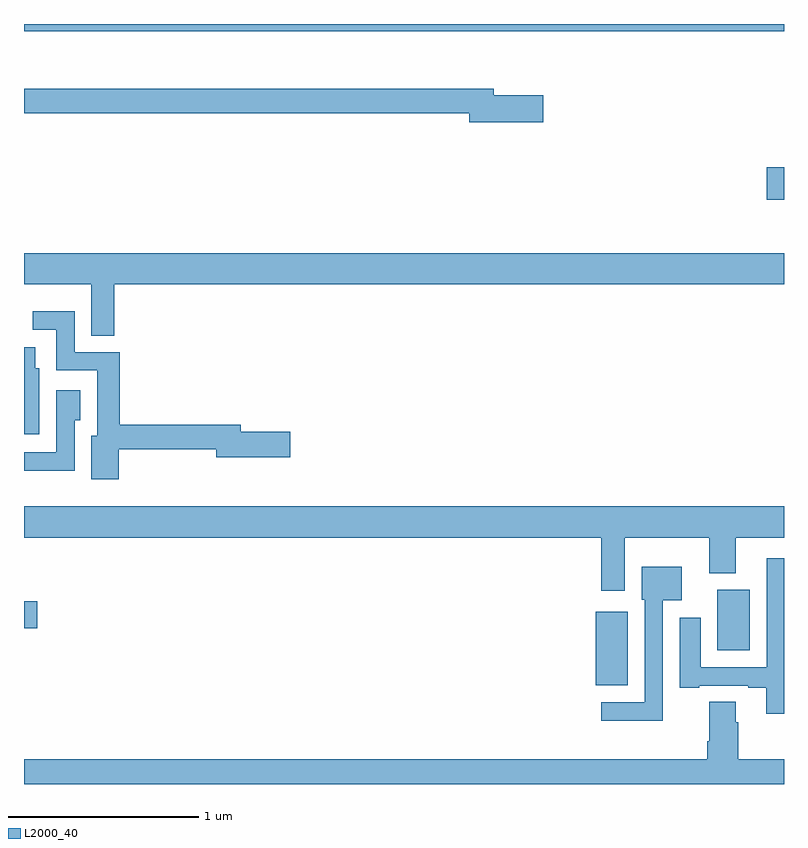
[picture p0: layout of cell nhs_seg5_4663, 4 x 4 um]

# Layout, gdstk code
import gdstk
lib = gdstk.Library(unit=1e-6, precision=1e-09)
def R(c, l, rs):  # rectangles x0, y0, x1, y1
    for r in rs: c.add(gdstk.rectangle(r[:2], r[2:], *l))
def P(c, l, *ps):  # polygons
    for p in ps: c.add(gdstk.Polygon(p, *l))
L2000_40 = (2000, 40)

nhs_seg5_4663 = lib.new_cell('nhs_seg5_4663')
R(nhs_seg5_4663, L2000_40, [(388.01,853.319,388.177,853.705), (388.649,853.502,388.819,853.822), (385,853.619,385.069,853.761), (388.908,855.875,389,856.046), (385,856.76,389,856.799)])
P(nhs_seg5_4663, L2000_40, [(387.733,856.425),(387.472,856.425),(387.472,856.459),(385,856.459),(385,856.33),(387.344,856.33),(387.344,856.283),(387.733,856.283)],
  [(385.474,855.428),(389,855.428),(389,855.592),(385,855.592),(385,855.428),(385.355,855.428),(385.355,855.157),(385.474,855.157)],
  [(385.499,854.562),(386.012,854.562),(386.012,854.519),(386.401,854.519),(386.401,854.654),(386.14,854.654),(386.14,854.69),(385.504,854.69),(385.504,855.072),(385.266,855.072),(385.266,855.286),(385.047,855.286),(385.047,855.189),(385.17,855.189),(385.17,854.976),(385.385,854.976),(385.385,854.631),(385.355,854.631),(385.355,854.403),(385.499,854.403)],
  [(385.081,854.988),(385.06,854.988),(385.06,855.097),(385,855.097),(385,854.64),(385.081,854.64)],
  [(385.266,854.713),(385.297,854.713),(385.297,854.872),(385.17,854.872),(385.17,854.544),(385,854.544),(385,854.448),(385.045,854.448),(385.045,854.447),(385.266,854.447)],
  [(388.162,854.096),(388.607,854.096),(388.607,853.907),(388.747,853.907),(388.747,854.096),(389,854.096),(389,854.26),(385,854.26),(385,854.096),(388.037,854.096),(388.037,853.815),(388.162,853.815)],
  [(389,853.987),(388.908,853.987),(388.908,853.413),(388.561,853.413),(388.561,853.675),(388.451,853.675),(388.451,853.305),(388.555,853.305),(388.555,853.317),(388.811,853.317),(388.811,853.305),(388.907,853.305),(388.907,853.17),(389,853.17)],
  [(388.362,853.766),(388.462,853.766),(388.462,853.942),(388.25,853.942),(388.25,853.77),(388.266,853.77),(388.266,853.23),(388.038,853.23),(388.038,853.133),(388.362,853.133)],
  [(389,852.928),(388.76,852.928),(388.76,853.124),(388.747,853.124),(388.747,853.232),(388.607,853.232),(388.607,853.024),(388.595,853.024),(388.595,852.928),(385,852.928),(385,852.799),(389,852.799)])

lib.write_gds('nhs_seg5_4663.gds')
